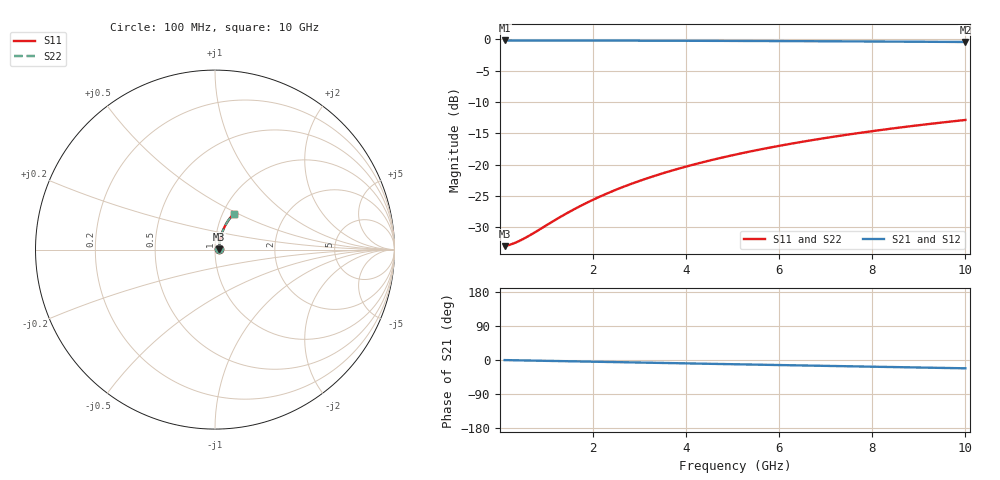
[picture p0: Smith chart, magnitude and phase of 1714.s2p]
# Hz S RI R 50.00
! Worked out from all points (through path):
!   100 points, 100 MHz to 10 GHz, reference 50 ohm
!   highest |S21| = -0.20 dB at 100 MHz (marker M1); lowest = -0.4 dB at 10 GHz (marker M2)
!   group delay of S21, straight-line fit = 6.1 ps
!   lowest |S11| = -33.0 dB at 100 MHz (marker M3), VSWR 1.05, Z = 52.3 + j0.238 ohm
!   |S11| at or under -10 dB: start of sweep to end of sweep
!   |S22| runs from -33.0 to -12.9 dB; largest |S21 - S12| = 0
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1e8  0.0223 0.00228  0.9777 -0.00381  0.9777 -0.00381  0.0223 0.00228
2e8  0.0225 0.00455  0.9775 -0.00762  0.9775 -0.00762  0.0225 0.00455
3e8  0.0226 0.00682  0.9773 -0.0114  0.9773 -0.0114  0.0226 0.00682
5e8  0.0229 0.0114  0.977 -0.0191  0.977 -0.0191  0.0229 0.0114
7e8  0.0233 0.0159  0.9767 -0.0267  0.9767 -0.0267  0.0233 0.0159
1.3e9  0.0246 0.0295  0.9752 -0.0494  0.9752 -0.0494  0.0246 0.0295
1.6e9  0.0255 0.0362  0.9742 -0.0608  0.9742 -0.0608  0.0255 0.0362
1.8e9  0.0261 0.0407  0.9734 -0.0684  0.9734 -0.0684  0.0261 0.0407
2.2e9  0.0277 0.0497  0.9717 -0.0835  0.9717 -0.0835  0.0277 0.0497
2.6e9  0.0294 0.0585  0.9697 -0.0985  0.9697 -0.0985  0.0294 0.0585
3e9  0.0315 0.0673  0.9674 -0.1134  0.9674 -0.1134  0.0315 0.0673
3.4e9  0.0338 0.0761  0.9648 -0.1283  0.9648 -0.1283  0.0338 0.0761
3.8e9  0.0364 0.0847  0.9618 -0.1431  0.9618 -0.1431  0.0364 0.0847
4.2e9  0.0392 0.0932  0.9586 -0.1578  0.9586 -0.1578  0.0392 0.0932
4.6e9  0.0423 0.1017  0.9551 -0.1724  0.9551 -0.1724  0.0423 0.1017
5.1e9  0.0465 0.112  0.9503 -0.1905  0.9503 -0.1905  0.0465 0.112
5.9e9  0.0541 0.1282  0.9417 -0.219  0.9417 -0.219  0.0541 0.1282
6.7e9  0.0625 0.1438  0.932 -0.2469  0.932 -0.2469  0.0625 0.1438
7.5e9  0.0719 0.1588  0.9213 -0.2742  0.9213 -0.2742  0.0719 0.1588
8.4e9  0.0834 0.1749  0.908 -0.3042  0.908 -0.3042  0.0834 0.1749
9.2e9  0.0944 0.1883  0.8953 -0.33  0.8953 -0.33  0.0944 0.1883
1e10  0.1062 0.201  0.8816 -0.3551  0.8816 -0.3551  0.1062 0.201
